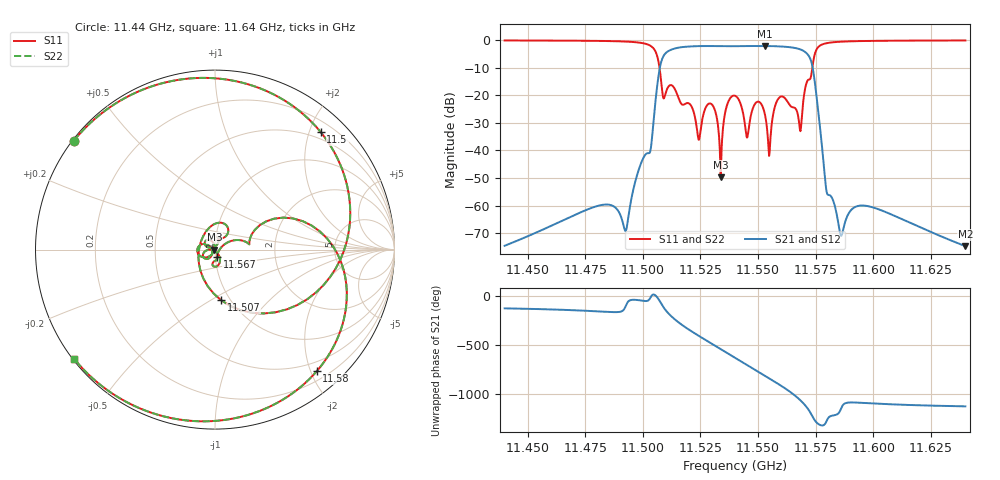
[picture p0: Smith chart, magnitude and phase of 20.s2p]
! This file was generated by CST Filter Designer 3D
! Date:  05.11.2025 19:49:13
# MHZ S RI R 50
!  Frequency  Re(S11)  Im(S11)  Re(S21)  Im(S21)  Re(S12)  Im(S12)  Re(S22)  Im(S22)
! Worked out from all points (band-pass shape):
!   1001 points, 11.44 GHz to 11.64 GHz, reference 50 ohm
!   highest |S21| = -2.07 dB at 11.553 GHz (marker M1); lowest = -74.8 dB at 11.64 GHz (marker M2)
!   |S21| within 3 dB of the highest: 11.509 GHz to 11.571 GHz (62 MHz wide, 0.537 % of centre)
!   lowest |S11| = -49.7 dB at 11.534 GHz (marker M3), VSWR 1.01, Z = 49.7 + j0.0485 ohm
!   |S11| at or under -10 dB: 11.507 GHz to 11.574 GHz (66.32 MHz wide, 0.575 % of centre)
!   |S22| runs from -49.7 to -0.1 dB; largest |S21 - S12| = 0
!   S11 on the Smith chart (normalised r, x): 11.44 GHz: 0.00, +0.34; 11.5 GHz: 0.38, +2.20; 11.507 GHz: 0.91, -0.56; 11.567 GHz: 1.02, -0.08; 11.58 GHz: 0.34, -2.10; 11.64 GHz: 0.00, -0.34
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11440  -0.7863 0.6069  -0.000119 -0.000142  -0.000119 -0.000142  -0.7863 0.6069
11473.4  -0.4941 0.8486  -0.000678 -0.000353  -0.000678 -0.000353  -0.4941 0.8486
11492.4  0.0683 0.9469  -0.000147 -0.000313  -0.000147 -0.000313  0.0683 0.9469
11500.4  0.59 0.6532  0.00443 -0.00613  0.00443 -0.00613  0.59 0.6532
11506.8  0.2064 -0.3522  0.1831 -0.1329  0.1831 -0.1329  0.2064 -0.3522
11507.4  0.0336 -0.2816  0.1647 -0.2733  0.1647 -0.2733  0.0336 -0.2816
11511.2  0.00582 0.1461  -0.6405 0.0435  -0.6405 0.0435  0.00582 0.1461
11515.4  0.0573 0.0718  0.0143 0.734  0.0143 0.734  0.0573 0.0718
11521.6  0.0214 0.0529  0.7618 -0.1535  0.7618 -0.1535  0.0214 0.0529
11527.4  -0.0554 0.0266  -0.0723 -0.783  -0.0723 -0.783  -0.0554 0.0266
11533.8  -0.00323 0.000489  -0.7819 0.0824  -0.7819 0.0824  -0.00323 0.000489
11540  -0.0985 0.00126  0.0642 0.7785  0.0642 0.7785  -0.0985 0.00126
11546.2  -0.0164 -0.0245  0.7859 -0.0447  0.7859 -0.0447  -0.0164 -0.0245
11553  -0.0446 -0.0035  -0.1201 -0.7788  -0.1201 -0.7788  -0.0446 -0.0035
11555  -7.56e-05 -0.00902  -0.474 -0.628  -0.474 -0.628  -7.56e-05 -0.00902
11559.6  0.00975 -0.0933  -0.7506 0.1843  -0.7506 0.1843  0.00975 -0.0933
11567.4  0.0116 -0.0404  0.5909 0.382  0.5909 0.382  0.0116 -0.0404
11573.4  0.2484 0.1351  -0.2937 -0.2196  -0.2937 -0.2196  0.2484 0.1351
11579.6  0.5676 -0.6767  -0.00174 0.000899  -0.00174 0.000899  0.5676 -0.6767
11586  0.1389 -0.9331  7.39e-05 -0.000271  7.39e-05 -0.000271  0.1389 -0.9331
11606.8  -0.4985 -0.8462  0.000634 -0.00034  0.000634 -0.00034  -0.4985 -0.8462
11640  -0.7844 -0.6091  0.000117 -0.00014  0.000117 -0.00014  -0.7844 -0.6091
